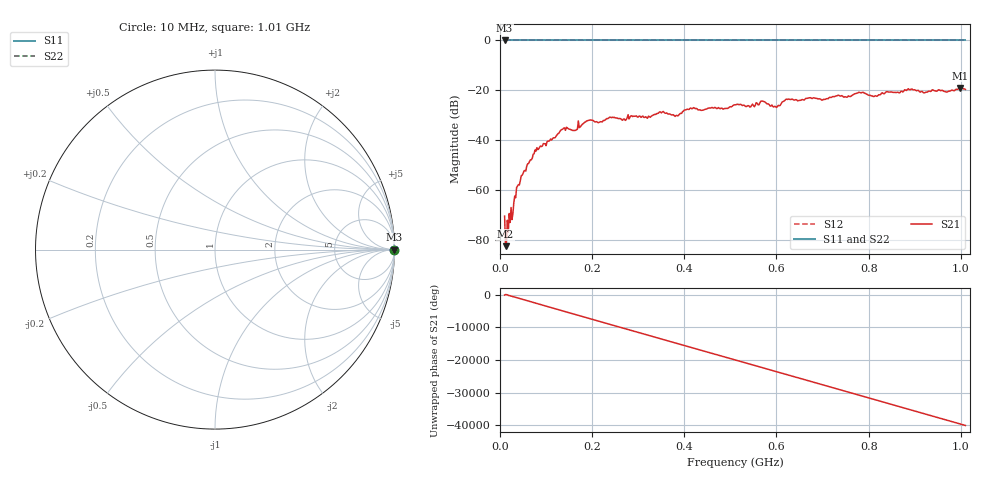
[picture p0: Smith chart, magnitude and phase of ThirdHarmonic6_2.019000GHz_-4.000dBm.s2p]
! 8/17/2025 12:14:05 AM
! C:\ANRITSUVNA\TEMP\TEMP.S2P
! CHANNEL.1
! TR.MEASUREMENT
! RAW.DATA
! RF.CORRECTION.OFF
! AVERAGING.OFF
! IF.BANDWIDTH: 5KHZ
! SWEEPTYPE:  FREQ.SWEEP(Linear)
! Reference Plane Port Info
! PORT:  PORT1  PORT2
! DISTANCE:  0  m  0  m
! TIME:  0  s  0  s
! PHASE.OFFSET:  0  deg.  0  deg.
! LOSS:  0  dB  0  dB
! REF.LOSS:  0  dB  0  dB
! REF.FREQ:  0  Hz  0  Hz
! Power Info
! POWER:  -20  dBm  -20  dBm
! EFF.POWER:  -20  dBm  -20  dBm
! SOURCE.ATTEN:  0  dB  0  dB
! TEST.ATTEN:  0  dB  0  dB
# GHZ S RI R 50.0
! FREQ.GHZ  S11RE  S11IM  S21RE  S21IM  S12RE  S12IM  S22RE  S22IM
!; PortSelection: Port_12
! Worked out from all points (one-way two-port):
!   501 points, 10 MHz to 1.01 GHz, reference 50 ohm
!   highest |S21| = -19.05 dB at 998 MHz (marker M1); lowest = -82.5 dB at 12 MHz (marker M2)
!   lowest |S11| = 0.0 dB at 10 MHz (marker M3)
!   |S11| at or under -10 dB: nowhere
!   |S22| runs from 0.0 to 0.0 dB; largest |S21 - S12| = 1.1
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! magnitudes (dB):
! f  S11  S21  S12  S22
! 10 MHz  0.0  -70.4  0.0  0.0
! 12 MHz  0.0  -82.5  0.0  0.0
! 16 MHz  0.0  -72.1  0.0  0.0
! 30 MHz  0.0  -64.9  0.0  0.0
! 36 MHz  0.0  -59.0  0.0  0.0
! 48 MHz  0.0  -54.1  0.0  0.0
! 76 MHz  0.0  -43.9  0.0  0.0
! 136 MHz  0.0  -35.6  0.0  0.0
! 162 MHz  0.0  -36.1  0.0  0.0
! 178 MHz  0.0  -33.7  0.0  0.0
! 194 MHz  0.0  -31.9  0.0  0.0
! 344 MHz  0.0  -29.1  0.0  0.0
! 384 MHz  0.0  -30.1  0.0  0.0
! 416 MHz  0.0  -27.4  0.0  0.0
! 510 MHz  0.0  -25.8  0.0  0.0
! 570 MHz  0.0  -24.3  0.0  0.0
! 598 MHz  0.0  -26.5  0.0  0.0
! 624 MHz  0.0  -23.6  0.0  0.0
! 678 MHz  0.0  -23.2  0.0  0.0
! 844 MHz  0.0  -20.7  0.0  0.0
! 998 MHz  0.0  -19.1  0.0  0.0
! 1.01 GHz  0.0  -19.6  0.0  0.0
